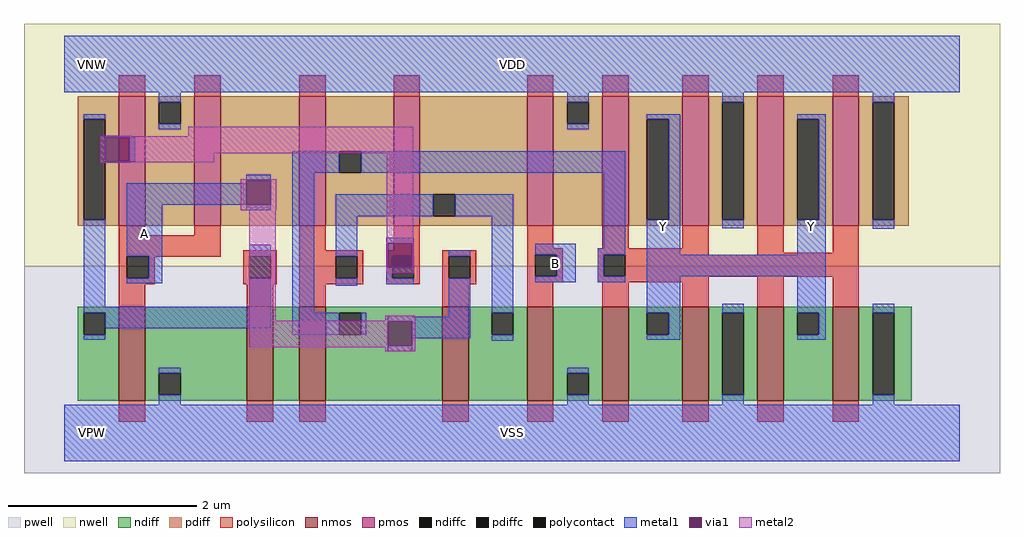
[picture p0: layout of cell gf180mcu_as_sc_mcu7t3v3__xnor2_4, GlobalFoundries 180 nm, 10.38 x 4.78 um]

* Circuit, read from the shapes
.subckt gf180mcu_as_sc_mcu7t3v3__xnor2_4 VDD VNW VPW VSS B A Y
XM1 VSS A n1 VPW nfet_03v3 w=1u l=0.28u
XM2 n2 n1 VSS VPW nfet_03v3 w=1u l=0.28u
XM3 n3 n4 n2 VPW nfet_03v3 w=1u l=0.28u
XM4 n4 A n3 VPW nfet_03v3 w=1u l=0.28u
XM5 VSS B n4 VPW nfet_03v3 w=1u l=0.28u
XM6 Y n3 VSS VPW nfet_03v3 w=1u l=0.28u m=4
XM7 VDD A n1 VNW pfet_03v3 w=1.38u l=0.28u
XM8 n5 A VDD VNW pfet_03v3 w=1.38u l=0.28u
XM9 n3 n4 n5 VNW pfet_03v3 w=1.38u l=0.28u
XM10 n4 n1 n3 VNW pfet_03v3 w=1.38u l=0.28u
XM11 VDD B n4 VNW pfet_03v3 w=1.38u l=0.28u
XM12 Y n3 VDD VNW pfet_03v3 w=1.38u l=0.28u m=4
.ends

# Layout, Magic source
magic
tech gf180mcuD
magscale 1 10
<< nwell >>
rect -86 354 1990 870
<< pwell >>
rect -86 -86 1990 354
<< nmos >>
rect 116 68 172 268
rect 388 68 444 268
rect 500 68 556 268
rect 804 68 860 268
rect 984 68 1040 268
rect 1144 68 1200 268
rect 1314 68 1370 268
rect 1474 68 1530 268
rect 1634 68 1690 268
<< pmos >>
rect 116 440 172 716
rect 276 440 332 716
rect 500 440 556 716
rect 700 440 756 716
rect 984 440 1040 716
rect 1144 440 1200 716
rect 1314 440 1370 716
rect 1474 440 1530 716
rect 1634 440 1690 716
<< ndiff >>
rect 28 255 116 268
rect 28 209 41 255
rect 87 209 116 255
rect 28 68 116 209
rect 172 127 388 268
rect 172 81 201 127
rect 247 81 388 127
rect 172 68 388 81
rect 444 68 500 268
rect 556 255 804 268
rect 556 209 585 255
rect 631 209 804 255
rect 556 68 804 209
rect 860 255 984 268
rect 860 209 909 255
rect 955 209 984 255
rect 860 68 984 209
rect 1040 127 1144 268
rect 1040 81 1069 127
rect 1115 81 1144 127
rect 1040 68 1144 81
rect 1200 255 1314 268
rect 1200 209 1239 255
rect 1285 209 1314 255
rect 1200 68 1314 209
rect 1370 255 1474 268
rect 1370 81 1399 255
rect 1445 81 1474 255
rect 1370 68 1474 81
rect 1530 255 1634 268
rect 1530 209 1559 255
rect 1605 209 1634 255
rect 1530 68 1634 209
rect 1690 255 1802 268
rect 1690 81 1719 255
rect 1765 81 1802 255
rect 1690 68 1802 81
<< pdiff >>
rect 28 667 116 716
rect 28 453 41 667
rect 87 453 116 667
rect 28 440 116 453
rect 172 703 276 716
rect 172 657 201 703
rect 247 657 276 703
rect 172 440 276 657
rect 332 440 500 716
rect 556 599 700 716
rect 556 553 585 599
rect 631 553 700 599
rect 556 440 700 553
rect 756 507 984 716
rect 756 461 785 507
rect 831 461 984 507
rect 756 440 984 461
rect 1040 703 1144 716
rect 1040 657 1069 703
rect 1115 657 1144 703
rect 1040 440 1144 657
rect 1200 667 1314 716
rect 1200 453 1239 667
rect 1285 453 1314 667
rect 1200 440 1314 453
rect 1370 703 1474 716
rect 1370 453 1399 703
rect 1445 453 1474 703
rect 1370 440 1474 453
rect 1530 667 1634 716
rect 1530 453 1559 667
rect 1605 453 1634 667
rect 1530 440 1634 453
rect 1690 703 1796 716
rect 1690 453 1719 703
rect 1765 453 1796 703
rect 1690 440 1796 453
<< ndiffc >>
rect 41 209 87 255
rect 201 81 247 127
rect 585 209 631 255
rect 909 209 955 255
rect 1069 81 1115 127
rect 1239 209 1285 255
rect 1399 81 1445 255
rect 1559 209 1605 255
rect 1719 81 1765 255
<< pdiffc >>
rect 41 453 87 667
rect 201 657 247 703
rect 585 553 631 599
rect 785 461 831 507
rect 1069 657 1115 703
rect 1239 453 1285 667
rect 1399 453 1445 703
rect 1559 453 1605 667
rect 1719 453 1765 703
<< polysilicon >>
rect 116 716 172 760
rect 276 716 332 760
rect 500 716 556 760
rect 700 716 756 760
rect 984 716 1040 760
rect 1144 716 1200 760
rect 1314 716 1370 760
rect 1474 716 1530 760
rect 1634 716 1690 760
rect 116 420 172 440
rect 276 420 332 440
rect 116 375 332 420
rect 500 388 556 440
rect 700 388 756 440
rect 984 392 1040 440
rect 1144 392 1200 440
rect 1314 392 1370 440
rect 116 329 133 375
rect 179 374 332 375
rect 380 375 452 388
rect 179 329 192 374
rect 116 316 192 329
rect 380 329 393 375
rect 439 329 452 375
rect 380 316 452 329
rect 500 375 636 388
rect 500 329 577 375
rect 623 329 636 375
rect 500 316 636 329
rect 684 375 756 388
rect 684 329 697 375
rect 743 329 756 375
rect 684 316 756 329
rect 804 375 876 388
rect 804 329 817 375
rect 863 329 876 375
rect 804 316 876 329
rect 984 379 1060 392
rect 984 333 1001 379
rect 1047 333 1060 379
rect 984 320 1060 333
rect 1134 379 1370 392
rect 1474 383 1530 440
rect 1634 383 1690 440
rect 1474 379 1690 383
rect 1134 333 1147 379
rect 1193 333 1690 379
rect 1134 332 1690 333
rect 1134 320 1370 332
rect 116 268 172 316
rect 388 268 444 316
rect 500 268 556 316
rect 804 268 860 316
rect 984 268 1040 320
rect 1144 268 1200 320
rect 1314 268 1370 320
rect 1474 268 1530 332
rect 1634 268 1690 332
rect 116 24 172 68
rect 388 24 444 68
rect 500 24 556 68
rect 804 24 860 68
rect 984 24 1040 68
rect 1144 24 1200 68
rect 1314 24 1370 68
rect 1474 24 1530 68
rect 1634 24 1690 68
<< polycontact >>
rect 133 329 179 375
rect 393 329 439 375
rect 577 329 623 375
rect 697 329 743 375
rect 817 329 863 375
rect 1001 333 1047 379
rect 1147 333 1193 379
<< metal1 >>
rect 0 724 1904 844
rect 201 703 247 724
rect 41 667 87 678
rect 201 646 247 657
rect 1069 703 1115 724
rect 1399 703 1445 724
rect 1069 646 1115 657
rect 1239 667 1310 678
rect 139 577 151 629
rect 485 553 585 599
rect 631 553 1193 599
rect 387 537 439 549
rect 41 268 87 453
rect 133 485 387 531
rect 133 375 208 485
rect 387 473 439 485
rect 179 329 208 375
rect 133 318 208 329
rect 393 375 439 400
rect 393 268 439 329
rect 41 255 439 268
rect 87 222 439 255
rect 485 255 531 553
rect 577 461 785 507
rect 831 461 955 507
rect 577 375 623 461
rect 577 313 623 329
rect 684 403 743 415
rect 684 351 688 403
rect 740 375 743 403
rect 684 329 697 351
rect 684 316 743 329
rect 817 375 863 388
rect 485 209 585 255
rect 631 209 642 255
rect 688 247 740 249
rect 817 247 863 329
rect 688 237 863 247
rect 41 198 87 209
rect 740 201 863 237
rect 909 255 955 461
rect 1001 379 1088 402
rect 1147 392 1193 553
rect 1047 333 1088 379
rect 1001 320 1088 333
rect 1134 379 1193 392
rect 1134 333 1147 379
rect 1134 320 1193 333
rect 1285 453 1310 667
rect 1239 379 1310 453
rect 1719 703 1765 724
rect 1399 435 1445 453
rect 1559 667 1619 678
rect 1605 453 1619 667
rect 1559 379 1619 453
rect 1719 434 1765 453
rect 1239 333 1619 379
rect 909 196 955 209
rect 1239 255 1310 333
rect 1285 209 1310 255
rect 1239 198 1310 209
rect 1399 255 1445 275
rect 688 173 740 185
rect 201 127 247 138
rect 201 60 247 81
rect 1069 127 1115 138
rect 1069 60 1115 81
rect 1559 255 1619 333
rect 1605 209 1619 255
rect 1559 198 1619 209
rect 1719 255 1765 275
rect 1399 60 1445 81
rect 1719 60 1765 81
rect 0 -60 1904 60
<< via1 >>
rect 87 577 139 629
rect 387 485 439 537
rect 688 375 740 403
rect 688 351 697 375
rect 697 351 740 375
rect 688 185 740 237
<< metal2 >>
rect 75 631 142 632
rect 263 631 742 651
rect 75 629 742 631
rect 75 577 87 629
rect 139 595 742 629
rect 139 577 319 595
rect 75 575 319 577
rect 75 574 142 575
rect 375 537 451 539
rect 375 485 387 537
rect 439 485 451 537
rect 375 473 451 485
rect 393 238 449 473
rect 686 406 742 595
rect 684 403 743 406
rect 684 351 688 403
rect 740 351 743 403
rect 684 339 743 351
rect 682 238 746 249
rect 393 237 746 238
rect 393 185 688 237
rect 740 185 746 237
rect 393 182 746 185
rect 682 173 746 182
<< labels >>
flabel metal1 s 0 724 1904 844 0 FreeSans 400 0 0 0 VDD
port 1 nsew power bidirectional abutment
flabel metal1 s 0 -60 1904 60 0 FreeSans 400 0 0 0 VSS
port 4 nsew ground bidirectional abutment
flabel nwell s 10 734 110 834 0 FreeSans 400 0 0 0 VNW
port 2 nsew power bidirectional
flabel pwell s 10 -50 110 50 0 FreeSans 400 0 0 0 VPW
port 3 nsew ground bidirectional
flabel metal1 1001 320 1088 402 0 FreeSans 200 0 0 0 B
port 5 nsew signal input
flabel metal1 133 318 208 531 0 FreeSans 200 0 0 0 A
port 6 nsew signal input
flabel metal1 1239 198 1310 678 0 FreeSans 200 0 0 0 Y
port 7 nsew signal output
flabel metal1 1559 198 1619 678 0 FreeSans 200 0 0 0 Y
port 7 nsew signal output
<< properties >>
string FIXED_BBOX 0 0 1904 784
string LEFclass CORE
string LEFsite unithd
string LEFsymmetry X Y
string MASKHINTS_NPLUS -16 -46 1920 354
string MASKHINTS_PPLUS -16 354 1920 830
<< end >>
